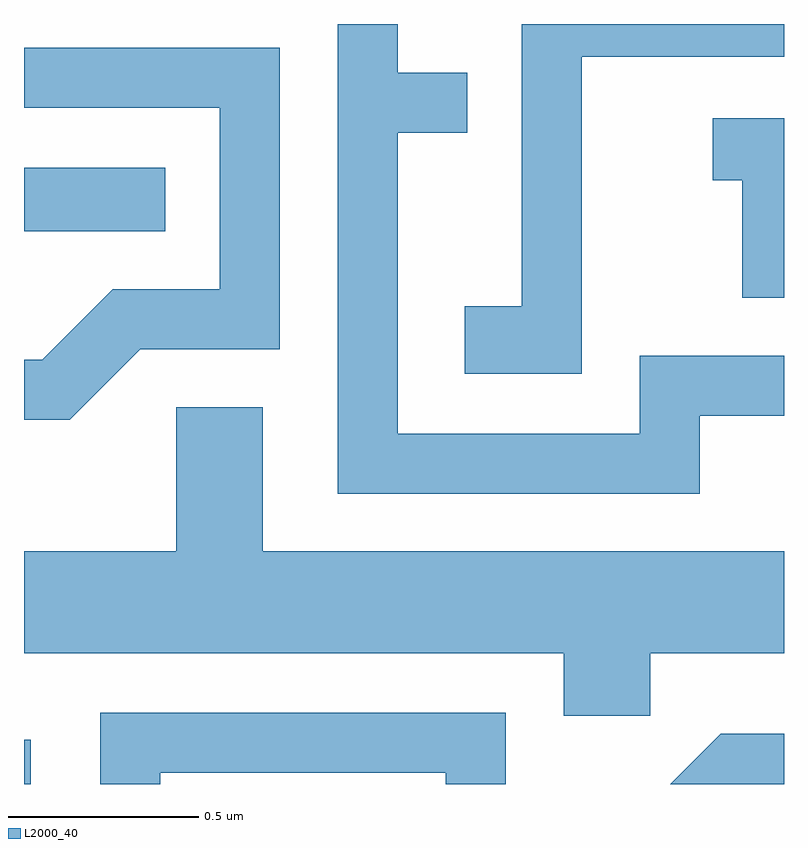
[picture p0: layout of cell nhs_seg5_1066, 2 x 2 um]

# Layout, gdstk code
import gdstk
lib = gdstk.Library(unit=1e-6, precision=1e-09)
def R(c, l, rs):  # rectangles x0, y0, x1, y1
    for r in rs: c.add(gdstk.rectangle(r[:2], r[2:], *l))
def P(c, l, *ps):  # polygons
    for p in ps: c.add(gdstk.Polygon(p, *l))
L2000_40 = (2000, 40)

nhs_seg5_1066 = lib.new_cell('nhs_seg5_1066')
R(nhs_seg5_1066, L2000_40, [(192.611,1503.072,192.629,1503.189), (192.611,1504.526,192.983,1504.694)])
P(nhs_seg5_1066, L2000_40, [(194.389,1504.041),(194.611,1504.041),(194.611,1504.199),(194.231,1504.199),(194.231,1503.994),(193.594,1503.994),(193.594,1504.786),(193.778,1504.786),(193.778,1504.944),(193.594,1504.944),(193.594,1505.072),(193.436,1505.072),(193.436,1503.836),(194.389,1503.836)],
  [(194.079,1504.986),(194.611,1504.986),(194.611,1505.072),(193.921,1505.072),(193.921,1504.329),(193.771,1504.329),(193.771,1504.151),(194.079,1504.151)],
  [(192.917,1504.216),(193.284,1504.216),(193.284,1505.009),(192.611,1505.009),(192.611,1504.851),(193.126,1504.851),(193.126,1504.374),(192.844,1504.374),(192.659,1504.189),(192.611,1504.189),(192.611,1504.031),(192.732,1504.031)],
  [(194.611,1504.824),(194.423,1504.824),(194.423,1504.661),(194.501,1504.661),(194.501,1504.351),(194.611,1504.351)],
  [(194.259,1503.416),(194.611,1503.416),(194.611,1503.684),(193.239,1503.684),(193.239,1504.064),(193.011,1504.064),(193.011,1503.684),(192.611,1503.684),(192.611,1503.416),(194.031,1503.416),(194.031,1503.251),(194.259,1503.251)],
  [(192.969,1503.101),(193.721,1503.101),(193.721,1503.072),(193.879,1503.072),(193.879,1503.259),(192.811,1503.259),(192.811,1503.072),(192.969,1503.072)],
  [(194.611,1503.204),(194.444,1503.204),(194.312,1503.072),(194.611,1503.072)])

lib.write_gds('nhs_seg5_1066.gds')
